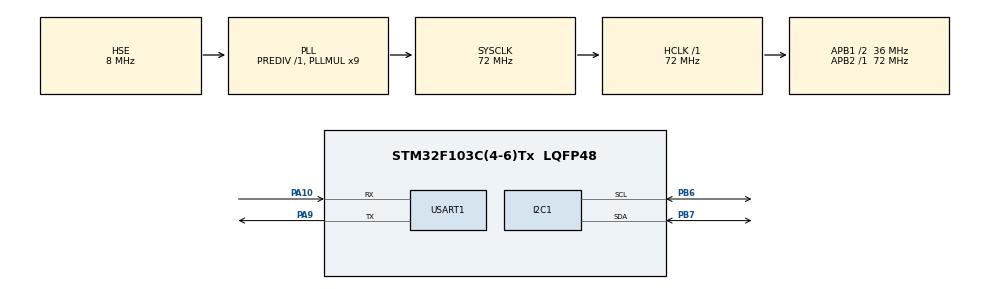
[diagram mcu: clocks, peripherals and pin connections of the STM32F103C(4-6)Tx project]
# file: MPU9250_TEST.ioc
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I2C1.I2C_Mode=I2C_Standard
Mcu.Family=STM32F1
Mcu.Name=STM32F103C(4-6)Tx
Mcu.Package=LQFP48
NVIC.PriorityGroup=NVIC_PRIORITYGROUP_4
PA10.Mode=Asynchronous
PA10.Signal=USART1_RX
PA13.Mode=Serial_Wire
PA13.Signal=SYS_JTMS-SWDIO
PA14.Mode=Serial_Wire
PA14.Signal=SYS_JTCK-SWCLK
PA9.Mode=Asynchronous
PA9.Signal=USART1_TX
PB6.Mode=I2C
PB6.Signal=I2C1_SCL
PB7.Mode=I2C
PB7.Signal=I2C1_SDA
PC14-OSC32_IN.Mode=LSE-External-Oscillator
PC14-OSC32_IN.Signal=RCC_OSC32_IN
PC15-OSC32_OUT.Mode=LSE-External-Oscillator
PC15-OSC32_OUT.Signal=RCC_OSC32_OUT
PD0-OSC_IN.Mode=HSE-External-Oscillator
PD0-OSC_IN.Signal=RCC_OSC_IN
PD1-OSC_OUT.Mode=HSE-External-Oscillator
PD1-OSC_OUT.Signal=RCC_OSC_OUT
ProjectManager.HeapSize=0x200
ProjectManager.StackSize=0x400
ProjectManager.TargetToolchain=STM32CubeIDE
RCC.AHBFreq_Value=72000000
RCC.APB1CLKDivider=RCC_HCLK_DIV2
RCC.APB1Freq_Value=36000000
RCC.APB1TimFreq_Value=72000000
RCC.APB2Freq_Value=72000000
RCC.APB2TimFreq_Value=72000000
RCC.HCLKFreq_Value=72000000
RCC.PLLMUL=RCC_PLL_MUL9
RCC.PLLSourceVirtual=RCC_PLLSOURCE_HSE
RCC.SYSCLKFreq_VALUE=72000000
RCC.SYSCLKSource=RCC_SYSCLKSOURCE_PLLCLK
RCC.USBFreq_Value=72000000
USART1.VirtualMode=VM_ASYNC
board=custom

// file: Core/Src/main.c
/* USER CODE BEGIN Header */
/**
  ******************************************************************************
  * @file           : main.c
  * @brief          : Main program body
  ******************************************************************************
  * @attention
  *
  * <h2><center>&copy; Copyright (c) 2021 STMicroelectronics.
  * All rights reserved.</center></h2>
  *
  * This software component is licensed by ST under BSD 3-Clause license,
  * the "License"; You may not use this file except in compliance with the
  * License. You may obtain a copy of the License at:
  *                        opensource.org/licenses/BSD-3-Clause
  *
  ******************************************************************************
  */
/* USER CODE END Header */
#include "main.h"

/* USER CODE BEGIN PD */
#define MPU9250_RA_INT_ENABLE       0x38
#define MPU9250_RA_PWR_MGMT_1       0x6B
#define MPU9250_RA_GYRO_CONFIG      0x1B
#define MPU9250_RA_ACCEL_CONFIG     0x1C
#define MPU9250_RA_CONFIG           0x1A
#define MPU9250_RA_SMPLRT_DIV       0x19
#define MPU9250_RA_INT_PIN_CFG      0x37

//设置低通滤波
#define MPU9250_DLPF_BW_256         0x00
#define MPU9250_DLPF_BW_188         0x01
#define MPU9250_DLPF_BW_98          0x02
#define MPU9250_DLPF_BW_42          0x03
#define MPU9250_DLPF_BW_20          0x04
#define MPU9250_DLPF_BW_10          0x05
#define MPU9250_DLPF_BW_5           0x06
uint8_t MPU9250_WriteByte(uint8_t reg,uint8_t data);
uint8_t MPU9250_ReadByte(uint8_t reg,uint8_t *buf);
uint8_t MPU9250_WriteMultBytes(uint8_t reg,uint8_t len,uint8_t *buf);
uint8_t MPU9250_ReadMultBytes(uint8_t reg,uint8_t len,uint8_t *buf);
uint8_t HALIIC_WriteByteToSlave(uint8_t I2C_Addr,uint8_t reg,uint8_t data)
{
  uint8_t  *pData;
  pData = &data;
  return HAL_I2C_Mem_Write(&hi2c1, I2C_Addr, reg, I2C_MEMADD_SIZE_8BIT, pData, 1, 100);
}
uint8_t HALIIC_ReadByteFromSlave(uint8_t I2C_Addr,uint8_t reg,uint8_t *buf)
{
  return HAL_I2C_Mem_Read(&hi2c1, I2C_Addr, reg, I2C_MEMADD_SIZE_8BIT, buf, 1, 100);
}

uint8_t HALIIC_ReadMultByteFromSlave(uint8_t dev, uint8_t reg, uint8_t length, uint8_t *data)
{
  return HAL_I2C_Mem_Read(&hi2c1, dev, reg, I2C_MEMADD_SIZE_8BIT, data, length, 200);
}
uint8_t HALIIC_WriteMultByteToSlave(uint8_t dev, uint8_t reg, uint8_t length, uint8_t* data)
{
  return HAL_I2C_Mem_Write(&hi2c1, dev, reg, I2C_MEMADD_SIZE_8BIT, data, length, 200);
}

void MPU9250_Init(void)
{
	MPU9250_Check(); //通过读取ID，检查MPU9250是否连接

	MPU9250_WriteByte(MPU9250_RA_PWR_MGMT_1, 0x80); //复位MPU9250
	HAL_Delay(100);
	MPU9250_WriteByte(MPU9250_RA_PWR_MGMT_1, 0x00); //唤醒MPU9250，并选择陀螺仪x轴PLL为时钟源 (MPU9250_RA_PWR_MGMT_1, 0x01)
	MPU9250_WriteByte(MPU9250_RA_INT_ENABLE, 0x00); //禁止中断
	MPU9250_WriteByte(MPU9250_RA_GYRO_CONFIG, 0x18); //陀螺仪满量程+-2000度/秒 (最低分辨率 = 2^15/2000 = 16.4LSB/度/秒
	MPU9250_WriteByte(MPU9250_RA_ACCEL_CONFIG, 0x08); //加速度满量程+-4g   (最低分辨率 = 2^15/4g = 8196LSB/g )
	MPU9250_WriteByte(MPU9250_RA_CONFIG, MPU6050_DLPF_BW_20);//设置陀螺的输出为1kHZ,DLPF=20Hz
	MPU9250_WriteByte(MPU9250_RA_SMPLRT_DIV, 0x00);  //采样分频 (采样频率 = 陀螺仪输出频率 / (1+DIV)，采样频率1000hz）
	MPU9250_WriteByte(MPU9250_RA_INT_PIN_CFG, 0x02); //MPU 可直接访问MPU9250辅助I2C

}
#define MPU9250_RA_ACCEL_XOUT_H     0x3B

#define MPU9250_RA_TEMP_OUT_H       0x41

#define MPU9250_RA_GYRO_XOUT_H      0x43

//MPU9250内部封装了一个AK8963磁力计,地址和ID如下:
#define AK8963_ADDR			0X0C	//AK8963的I2C地址
#define AK8963_ID			0X48	//AK8963的器件ID
//AK8963的内部寄存器
#define MAG_WIA				0x00	//AK8963的器件ID寄存器地址
#define MAG_XOUT_L			0X03

/******************************************************************************
* 功  能：读取加速度的原始数据
* 参  数：*accData 原始数据的指针
* 返回值：无
*******************************************************************************/
void MPU9250_AccRead(int16_t *accData)
{
    uint8_t buf[6];
   	MPU9250_ReadMultBytes(MPU9250_RA_ACCEL_XOUT_H,6,buf);
    accData[0] = (int16_t)((buf[0] << 8) | buf[1]);
    accData[1] = (int16_t)((buf[2] << 8) | buf[3]);
    accData[2] = (int16_t)((buf[4] << 8) | buf[5]);
}

/******************************************************************************
* 功  能：读取陀螺仪的原始数据
* 参  数：*gyroData 原始数据的指针
* 返回值：无
*******************************************************************************/
void MPU9250_GyroRead(int16_t *gyroData)
{
    uint8_t buf[6];
	MPU9250_ReadMultBytes(MPU9250_RA_GYRO_XOUT_H, 6, buf);
    gyroData[0] = (int16_t)((buf[0] << 8) | buf[1]) ;
    gyroData[1] = (int16_t)((buf[2] << 8) | buf[3]) ;
    gyroData[2] = (int16_t)((buf[4] << 8) | buf[5]) ;
}

/******************************************************************************
* 功  能：读取磁力计的原始数据
* 参  数：*magData原始数据的指针
* 返回值：无
*******************************************************************************/
void MPU9250_MagRead(int16_t *magData)
{
    uint8_t buf[6];
    HALIIC_WriteByteToSlave(MPU9250Addr,0x37,0x02);//turn on Bypass Mode
    HAL_Delay(10);
    HALIIC_WriteByteToSlave(AK8963_MAG_ADDRESS,0x0A,0x11);
    HAL_Delay(10);

    HALIIC_ReadMultByteFromSlave(AK8963_MAG_ADDRESS,MAG_XOUT_L, 6, buf);
    magData[0] = (int16_t)((buf[1] << 8) | buf[0]) ;
    magData[1] = (int16_t)((buf[3] << 8) | buf[2]) ;
    magData[2] = (int16_t)((buf[5] << 8) | buf[4]) ;
}

/******************************************************************************
* 功  能：温度值读取
* 参  数：*tempdata 温度数据的指针
* 返回值：无
*******************************************************************************/
void MPU9250_TempRead(float *tempdata)
{
	uint8_t buf[2];
	short data;
	MPU9250_ReadMultBytes(MPU9250_RA_TEMP_OUT_H, 2, buf);
	data = (int16_t)((buf[0] << 8) | buf[1]) ;

}
/* USER CODE END PD */

I2C_HandleTypeDef hi2c1;

UART_HandleTypeDef huart1;

void SystemClock_Config(void);
static void MX_GPIO_Init(void);
static void MX_I2C1_Init(void);
static void MX_USART1_UART_Init(void);

int main(void)
{

  /* MCU Configuration--------------------------------------------------------*/

  /* Reset of all peripherals, Initializes the Flash interface and the Systick. */
  HAL_Init();

  /* Configure the system clock */
  SystemClock_Config();

  /* Initialize all configured peripherals */
  MX_GPIO_Init();
  MX_I2C1_Init();
  MX_USART1_UART_Init();

  /* Infinite loop */
  /* USER CODE BEGIN WHILE */
  char text[100]="hello world";
  uint8_t recv = 0x01;
	uint8_t i2c_err;
	//i2c_err = HAL_I2C_Mem_Read(&hi2c1, (0x68<<1), 0x75, I2C_MEMADD_SIZE_8BIT, &recv, 1, 0xfff);
	int16_t acc[3],gyy[3],mag[3];

  while (1)
  {
	  MPU9250_AccRead(acc);
	  	MPU9250_GyroRead(gyy);
	  	MPU9250_MagRead(mag);
	  	recv=acc[0]%0xff;

	  HAL_UART_Transmit(&huart1, &recv, 1, 100);
	  /*
	  i2c_err = HAL_I2C_Mem_Read(&hi2c1, (0x68<<1), 0x75, I2C_MEMADD_SIZE_8BIT, &recv, 1, 0xfff);

	  if(recv == 0x71)
	  	{
		  HAL_UART_Transmit(&huart1, text, 15, 100);
	  	}
	  else
	  {
		  HAL_UART_Transmit(&huart1, &i2c_err, 1, 100);
	  }
	  */
	  //HAL_UART_Transmit(&huart1, text, 15, 100);
    /* USER CODE END WHILE */

  }
}

void SystemClock_Config(void)
{
  RCC_OscInitTypeDef RCC_OscInitStruct = {0};
  RCC_ClkInitTypeDef RCC_ClkInitStruct = {0};

  /** Initializes the RCC Oscillators according to the specified parameters
  * in the RCC_OscInitTypeDef structure.
  */
  RCC_OscInitStruct.OscillatorType = RCC_OSCILLATORTYPE_HSE;
  RCC_OscInitStruct.HSEState = RCC_HSE_ON;
  RCC_OscInitStruct.HSEPredivValue = RCC_HSE_PREDIV_DIV1;
  RCC_OscInitStruct.HSIState = RCC_HSI_ON;
  RCC_OscInitStruct.PLL.PLLState = RCC_PLL_ON;
  RCC_OscInitStruct.PLL.PLLSource = RCC_PLLSOURCE_HSE;
  RCC_OscInitStruct.PLL.PLLMUL = RCC_PLL_MUL9;
  if (HAL_RCC_OscConfig(&RCC_OscInitStruct) != HAL_OK)
  {
    Error_Handler();
  }
  /** Initializes the CPU, AHB and APB buses clocks
  */
  RCC_ClkInitStruct.ClockType = RCC_CLOCKTYPE_HCLK|RCC_CLOCKTYPE_SYSCLK
                              |RCC_CLOCKTYPE_PCLK1|RCC_CLOCKTYPE_PCLK2;
  RCC_ClkInitStruct.SYSCLKSource = RCC_SYSCLKSOURCE_PLLCLK;
  RCC_ClkInitStruct.AHBCLKDivider = RCC_SYSCLK_DIV1;
  RCC_ClkInitStruct.APB1CLKDivider = RCC_HCLK_DIV2;
  RCC_ClkInitStruct.APB2CLKDivider = RCC_HCLK_DIV1;

  if (HAL_RCC_ClockConfig(&RCC_ClkInitStruct, FLASH_LATENCY_2) != HAL_OK)
  {
    Error_Handler();
  }
}

static void MX_I2C1_Init(void)
{

  hi2c1.Instance = I2C1;
  hi2c1.Init.ClockSpeed = 100000;
  hi2c1.Init.DutyCycle = I2C_DUTYCYCLE_2;
  hi2c1.Init.OwnAddress1 = 0;
  hi2c1.Init.AddressingMode = I2C_ADDRESSINGMODE_7BIT;
  hi2c1.Init.DualAddressMode = I2C_DUALADDRESS_DISABLE;
  hi2c1.Init.OwnAddress2 = 0;
  hi2c1.Init.GeneralCallMode = I2C_GENERALCALL_DISABLE;
  hi2c1.Init.NoStretchMode = I2C_NOSTRETCH_DISABLE;
  if (HAL_I2C_Init(&hi2c1) != HAL_OK)
  {
    Error_Handler();
  }

}

static void MX_USART1_UART_Init(void)
{

  huart1.Instance = USART1;
  huart1.Init.BaudRate = 115200;
  huart1.Init.WordLength = UART_WORDLENGTH_8B;
  huart1.Init.StopBits = UART_STOPBITS_1;
  huart1.Init.Parity = UART_PARITY_NONE;
  huart1.Init.Mode = UART_MODE_TX_RX;
  huart1.Init.HwFlowCtl = UART_HWCONTROL_NONE;
  huart1.Init.OverSampling = UART_OVERSAMPLING_16;
  if (HAL_UART_Init(&huart1) != HAL_OK)
  {
    Error_Handler();
  }

}

static void MX_GPIO_Init(void)
{

  /* GPIO Ports Clock Enable */
  __HAL_RCC_GPIOC_CLK_ENABLE();
  __HAL_RCC_GPIOD_CLK_ENABLE();
  __HAL_RCC_GPIOA_CLK_ENABLE();
  __HAL_RCC_GPIOB_CLK_ENABLE();

}

/* USER CODE BEGIN 4 */
uint8_t MPU9250_WriteByte(uint8_t reg,uint8_t data)
{
	if(HALIIC_WriteByteToSlave(0xd0,reg,data))
		return 1;
	else
		return 0;
}

/*****************************************************************************
* 功  能：从指定MPU6050寄存器读取一个字节数据
* 参  数：reg： 寄存器地址
*         buf:  读取数据存放的地址
* 返回值：1失败 0成功
*****************************************************************************/
uint8_t MPU9250_ReadByte(uint8_t reg,uint8_t *buf)
{
	if(HALIIC_ReadByteFromSlave(0xd0,reg,buf))
		return 1;
	else
		return 0;
}

/*****************************************************************************
* 功  能：从指定寄存器写入指定长度数据
* 参  数：reg：寄存器地址
*         len：写入数据长度
*         buf: 写入数据存放的地址
* 返回值：0成功 1失败
*****************************************************************************/
uint8_t MPU9250_WriteMultBytes(uint8_t reg,uint8_t len,uint8_t *buf)
{
	if(HALIIC_WriteMultByteToSlave(0xd0,reg,len,buf))
		return 1;
	else
		return 0;
}

/*****************************************************************************
* 功  能：从指定寄存器读取指定长度数据
* 参  数：reg：寄存器地址
*         len：读取数据长度
*         buf: 读取数据存放的地址
* 返回值：0成功 0失败
*****************************************************************************/
uint8_t MPU9250_ReadMultBytes(uint8_t reg,uint8_t len,uint8_t *buf)
{
	if(HALIIC_ReadMultByteFromSlave(0xd0,reg,len,buf))
		return 1;
	else
		return 0;
}
/* USER CODE END 4 */

void Error_Handler(void)
{
  __disable_irq();
  while (1)
  {
  }
}
